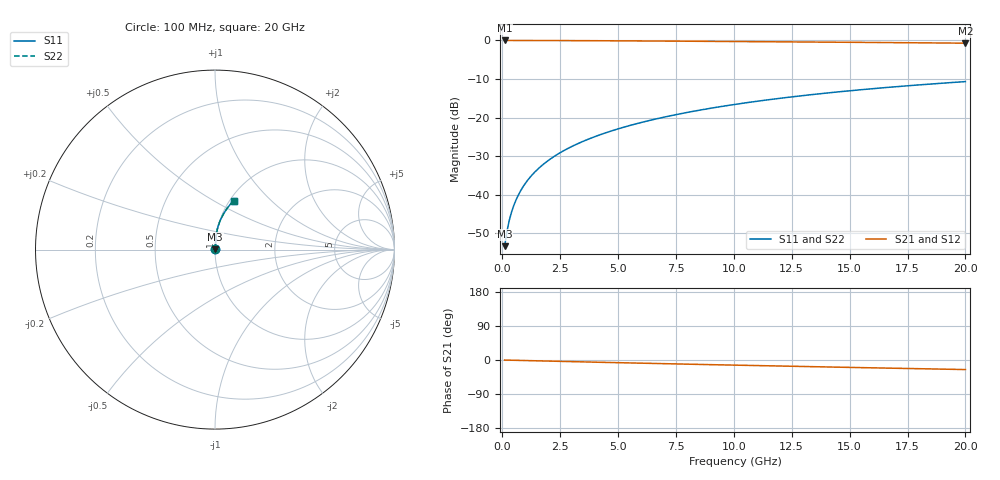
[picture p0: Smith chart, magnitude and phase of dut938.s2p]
! Touchstone file exported from HFSS 2024.1.0
!  File:  C:/UserFiles/LocalFiles/RDL_TSV_Batchsim/temp_RDL_bottom_938_1779941663.aedt
!  Generated:  12:17:02 PM May 28, 2026
!  Design:  RDL_bottom
!  Project:  temp_RDL_bottom_938_1779941663
!  Setup:  Setup1
!  Solution:  Sweep
! Variables:
!  dtsv = 10.80580581um
!  hbump = 3um
!  htsv = 64.51um
!  ldown = 296.22um
!  lrdl = 100um
!  p = 40
!  p1 = 58.1um
!  rhole = 1um
!  t = 450um
!  tdown = 3.82um
!  trdl = 3.915915916um
!  wdown = 19.62um
!  wrdl = 20um
# GHz S MA R 50.000000
! Terminal data exported
! Port[1] = RDL1_T1
! Port[2] = RDL1_T2
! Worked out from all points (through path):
!   200 points, 100 MHz to 20 GHz, reference 50 ohm
!   highest |S21| = -0.01 dB at 100 MHz (marker M1); lowest = -0.7 dB at 20 GHz (marker M2)
!   group delay of S21, straight-line fit = 3.48 ps
!   lowest |S11| = -53.3 dB at 100 MHz (marker M3), VSWR 1.00, Z = 50.2 + j0.148 ohm
!   |S11| at or under -10 dB: start of sweep to end of sweep
!   |S22| runs from -53.3 to -10.7 dB; largest |S21 - S12| = 2.6e-15
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0.1  0.002158 43.0  0.9984 -0.2  0.9984 -0.2  0.002158 43.0
! Gamma 0 0 0 0
! Port Impedance 50 0 50 0
0.2  0.003341 60.7  0.9983 -0.3  0.9983 -0.3  0.003341 60.7
0.3  0.004644 68.6  0.9983 -0.4  0.9983 -0.4  0.004644 68.6
0.4  0.005973 72.9  0.9982 -0.6  0.9982 -0.6  0.005973 73.0
0.5  0.007313 75.8  0.9981 -0.7  0.9981 -0.7  0.007313 75.8
0.6  0.008661 77.8  0.998 -0.9  0.998 -0.9  0.008661 77.8
0.8  0.01138 80.5  0.9978 -1.2  0.9978 -1.2  0.01138 80.5
1.1  0.01549 82.7  0.9975 -1.6  0.9975 -1.6  0.01549 82.7
1.5  0.02103 84.4  0.997 -2.2  0.997 -2.2  0.02103 84.4
1.8  0.02521 85.1  0.9966 -2.6  0.9966 -2.6  0.02521 85.1
2.1  0.02942 85.5  0.996 -3.1  0.996 -3.1  0.02942 85.5
2.7  0.03792 86.1  0.9948 -3.9  0.9948 -3.9  0.03792 86.1
3.5  0.0494 86.2  0.9927 -5.0  0.9927 -5.0  0.0494 86.2
4.2  0.0596 86.1  0.9905 -6.0  0.9905 -6.0  0.0596 86.1
5  0.07141 85.8  0.9878 -7.1  0.9878 -7.1  0.07141 85.8
5.9  0.08489 85.2  0.9845 -8.3  0.9845 -8.3  0.08489 85.2
6.8  0.09852 84.5  0.9811 -9.5  0.9811 -9.5  0.09852 84.5
8.4  0.123 82.9  0.9745 -11.5  0.9745 -11.5  0.123 82.9
10.1  0.149 81.0  0.9673 -13.7  0.9673 -13.7  0.149 81.0
13.4  0.199 77.0  0.9527 -17.6  0.9527 -17.6  0.199 77.0
16.7  0.247 72.9  0.9372 -21.5  0.9372 -21.5  0.247 72.9
20  0.2925 68.9  0.9209 -25.2  0.9209 -25.2  0.2925 68.9
